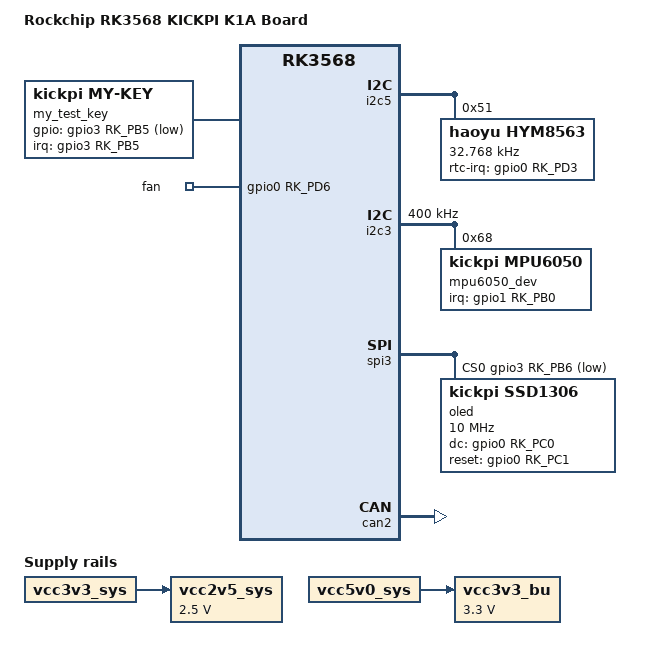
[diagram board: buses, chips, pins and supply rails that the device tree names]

// SPDX-License-Identifier: (GPL-2.0+ OR MIT)
/*
 * Copyright (c) 2020 Rockchip Electronics Co., Ltd.
 *
 */

/dts-v1/;

#include <dt-bindings/gpio/gpio.h>
#include <dt-bindings/pinctrl/rockchip.h>
#include <dt-bindings/display/rockchip_vop.h>
#include "rk3568.dtsi"
#include "rk3568-kickpi-evb.dtsi"
#include "rk3568-amp.dtsi"

// LCD
#include "rk3568-kickpi-lcd-hdmi.dtsi"
//#include "rk3568-kickpi-lcd-edp-15.6-1920-1080.dtsi"
//#include "rk3568-kickpi-lcd-mipi0-10.1-800-1280.dtsi"
//#include "rk3568-kickpi-lcd-mipi1-10.1-800-1280.dtsi"
//#include "rk3568-kickpi-lcd-mipi0-10.1-800-1280-v2.dtsi"
//#include "rk3568-kickpi-lcd-mipi1-10.1-800-1280-v2.dtsi"
//#include "rk3568-kickpi-lcd-lvds0-7-1024-600.dtsi"
//#include "rk3568-kickpi-lcd-lvds1-7-1024-600.dtsi"
//#include "rk3568-kickpi-lcd-mipi0-5-720-1280.dtsi"
//#include "rk3568-kickpi-lcd-mipi1-5-720-1280.dtsi"
// #include "rk3568-kickpi-lcd-mipi0-8-800-1280.dtsi"
// #include "rk3568-kickpi-lcd-mipi1-8-800-1280.dtsi"
 

 
// Triple LCD
//#include "rk3568-kickpi-triple-lcd-hdmi-mipi1-lvds.dtsi"
//#include "rk3568-kickpi-triple-lcd-edp-mipi1-lvds.dtsi"
// #include "rk3568-kickpi-dual-lcd-mipi0-mipi1.dtsi"

// Network
#include "rk3568-kickpi-eth-gmac0.dtsi"
#include "rk3568-kickpi-eth-gmac1.dtsi"
#include "rk3568-kickpi-wifibt.dtsi"

// Camera
#include "rk3568-kickpi-mipi-camera-gc5035.dtsi"

// Other
#include "rk3568-kickpi-usb.dtsi"
#include "rk3568-kickpi-ir.dtsi"
#include "rk3568-kickpi-sata.dtsi"
#include "rk3568-kickpi-pcie.dtsi"
#include "rk3568-kickpi-extend-40pin.dtsi"


/ {
	model = "Rockchip RK3568 KICKPI K1A Board";
	compatible = "rockchip,rk3568-kickpi-k1a", "rockchip,rk3568";
	
	
		/* 这是一个自定义的 GPIO 按键/中断节点 */
		    my_test_key {
			/* 这里的字符串必须和 C 代码里的 of_match_table 100% 对应！ */
			compatible = "kickpi,my-key";
			
			/* 
			 * 这里定义了具体的物理引脚。
			 * 假设你把外设/按键接在了 GPIO3 的 B5 引脚上。
			 * GPIO_ACTIVE_LOW 表示低电平有效（如果你是高电平触发，改为 GPIO_ACTIVE_HIGH）
			 */
			gpios = <&gpio3 RK_PB5 GPIO_ACTIVE_LOW>;
			
			/* 申明这个引脚隶属于哪个中断控制器（即 GPIO3 本身作为级联中断控制器） */
			interrupt-parent = <&gpio3>;
			
			/* 
			 * 配置中断触发方式。
			 * RK_PB5 代表引脚号。
			 * IRQ_TYPE_EDGE_FALLING 代表下降沿触发。
			 * (也可以用 IRQ_TYPE_EDGE_RISING, IRQ_TYPE_EDGE_BOTH 等)
			 */
			interrupts = <RK_PB5 IRQ_TYPE_EDGE_FALLING>;
			
			/* 设置引脚复用状态，确保这个引脚被配置为 GPIO 模式，而不是被复用成了 UART/SPI 等 */
			pinctrl-names = "default";
			pinctrl-0 = <&my_key_pin_cfg>;
		    };

    
	vcc2v5_sys: vcc2v5-ddr {
		compatible = "regulator-fixed";
		regulator-name = "vcc2v5-sys";
		regulator-always-on;
		regulator-boot-on;
		regulator-min-microvolt = <2500000>;
		regulator-max-microvolt = <2500000>;
		vin-supply = <&vcc3v3_sys>;
	};

	vcc3v3_bu: vcc3v3-bu {
		compatible = "regulator-fixed";
		regulator-name = "vcc3v3_bu";
		regulator-always-on;
		regulator-boot-on;
		regulator-min-microvolt = <3300000>;
		regulator-max-microvolt = <3300000>;
		vin-supply = <&vcc5v0_sys>;
	};
/*
	fan0: gpio-fan {
		#cooling-cells = <2>;
		compatible = "gpio-fan";
		gpio-fan,speed-map = <0 0 
								3000 1>;
		gpios = <&gpio0 RK_PD6 GPIO_ACTIVE_HIGH>;
		status = "okay";
	};
	*/
};

&leds {
    fan {
        gpios = <&gpio0 RK_PD6 GPIO_ACTIVE_HIGH>;
        default-state = "on";
    };
};

&rk809_sound {
	spk-det-gpio = <&gpio4 RK_PC6 GPIO_ACTIVE_LOW>;
	hp-det-gpio = <&gpio1 RK_PD3 GPIO_ACTIVE_HIGH>;
	pinctrl-names = "default";
	pinctrl-0 = <&hp_det>;
	hp-volume = <20>;
	spk-volume = <30>;
};

&i2c5 {
	status = "okay";

	hym8563: hym8563@51 {
		compatible = "haoyu,hym8563";
		reg = <0x51>;
		#clock-cells = <0>;
		clock-frequency = <32768>;
		clock-output-names = "hym8563";
		// IRQ GPIO IS MODIFYED FOR UPDATE HYM8562 DRIVER 
		rtc-irq-gpio = <&gpio0 RK_PD3 IRQ_TYPE_EDGE_FALLING>;
	};
	
};

/* 启用 I2C3 通道 */
&i2c3 {
    status = "okay";
    clock-frequency = <400000>; /* 配置为 400kHz 快速模式 */

    /* 在 I2C3 总线下挂载 MPU6050 设备 */
    mpu6050_dev: mpu6050@68 {
        /* 此处的 compatible 必须与我们驱动 C 代码中 of_match_table 保持一致 */
        compatible = "kickpi,mpu6050";
        
        /* 物理 I2C 地址，因为 AD0 接地，所以是 0x68 */
        reg = <0x68>; 

        /* ================= 中断配置 ================= */
        /* 指定中断挂载的父节点：我们选的是 GPIO1_B0，属于 gpio1 组 */
        interrupt-parent = <&gpio1>;
        
        /* 
         * 配置具体的引脚和触发方式:
         * RK_PB0 对应物理图上的 GPIO1_B0
         * IRQ_TYPE_EDGE_RISING 表示上升沿触发 (MPU6050 默认中断引脚为推挽输出，高电平有效)
         */
        interrupts = <RK_PB0 IRQ_TYPE_EDGE_RISING>;
        
        /* (可选) 配置引脚默认的 pinctrl 状态，防止被复用为其他功能 */
        pinctrl-names = "default";
        pinctrl-0 = <&mpu6050_int_pin>;
    };
};
 
/* 启用 SPI3 硬件控制器 */
&spi3 {
    status = "okay";
    
    /* 关键：告诉控制器，我们要用哪个引脚作为片选 (CS) */
    cs-gpios = <&gpio3 RK_PB6 GPIO_ACTIVE_LOW>; 

    oled: ssd1306@0 {
        compatible = "kickpi,ssd1306";
        /* reg = <0> 代表它绑定在 cs-gpios 数组的第 0 个引脚上 */
        reg = <0>; 
        
        /* 🚀 速度全开：10MHz。如果你保留了 4.7k 电阻，请降到 1000000 (1MHz) */
        spi-max-frequency = <10000000>; 
        
        /* 声明我们选用的两个独立控制引脚 */
        dc-gpios = <&gpio0 RK_PC0 GPIO_ACTIVE_HIGH>;
        reset-gpios = <&gpio0 RK_PC1 GPIO_ACTIVE_HIGH>;
    };
};

/* ==========================================================
 * 启用 CAN2 硬件控制器 (Rockchip CAN-FD)
 * 使用 M1 组引脚: RX -> GPIO4_B4, TX -> GPIO4_B5
 * ========================================================== */
&can2 {
    status = "okay";
    
    /* 引用内核自带的 pinctrl 配置，强制将这两个 GPIO 切换为 CAN 硬件收发模式 */
    pinctrl-names = "default";
    pinctrl-0 = <&can2m0_pins>; 
    
    /* 
     * 可选：如果你后续遇到波特率设置不准的问题，可以解开下面两行的注释。
     * 这会强制给 CAN 控制器分配 200MHz 的高精度基础时钟，以支持 CAN-FD 高速通信。
     */
    // assigned-clocks = <&cru CLK_CAN2>;
    // assigned-clock-rates = <200000000>;
};

&pinctrl {
	headphone {
		hp_det: hp-det {
			rockchip,pins = <1 RK_PD3 RK_FUNC_GPIO &pcfg_pull_up>;
		};
	};
	
	 kickpi_custom {
		my_key_pin_cfg: my-key-pin-cfg {
		    /* 
		     * 将 GPIO3_PB5 配置为默认下拉 (或者上拉 rockchip,pull-up)。
		     * 根据你的外部电路决定。如果是接地触发（按键），通常设为上拉。
		     */
		    rockchip,pins = <3 RK_PB5 RK_FUNC_GPIO &pcfg_pull_up>;
		};
	};
	mpu6050 {
        	mpu6050_int_pin: mpu6050-int-pin {
           	 /* 将 GPIO1_B0 配置为默认输入，并下拉，防止悬空时产生伪中断 */
            	rockchip,pins = <1 RK_PB0 RK_FUNC_GPIO &pcfg_pull_down>;
        	};
    	};


};
